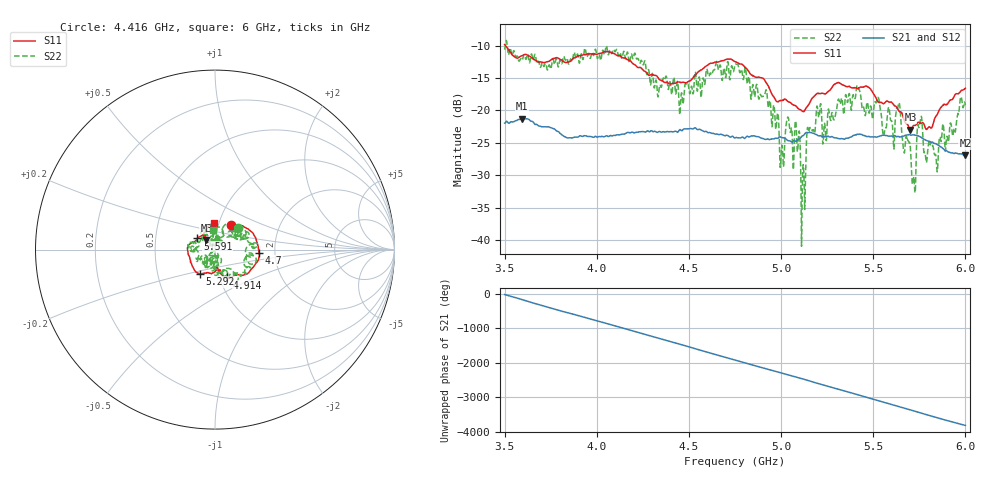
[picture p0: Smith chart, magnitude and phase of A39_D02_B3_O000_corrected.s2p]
! Created with skrf 1.9.0 (http://scikit-rf.org).
# Hz S RI R 50.0
!freq ReS11 ImS11 ReS21 ImS21 ReS12 ImS12 ReS22 ImS22
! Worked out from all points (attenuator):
!   1601 points, 3.5 GHz to 6 GHz, reference 50 ohm
!   highest |S21| = -21.24 dB at 3.594 GHz (marker M1); lowest = -26.9 dB at 6 GHz (marker M2)
!   lowest |S11| = -22.9 dB at 5.702 GHz (marker M3), VSWR 1.15, Z = 45.2 + j4.82 ohm
!   |S11| at or under -10 dB: 3.505 GHz to end of sweep
!   |S22| runs from -40.9 to -9.2 dB; largest |S21 - S12| = 0.00092
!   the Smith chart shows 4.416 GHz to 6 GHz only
!   S11 on the Smith chart (normalised r, x): 4.416 GHz: 1.15, +0.32; 4.7 GHz: 1.65, -0.06; 4.914 GHz: 1.08, -0.35; 5.292 GHz: 0.81, -0.23; 5.591 GHz: 0.82, +0.10; 6 GHz: 0.94, +0.29
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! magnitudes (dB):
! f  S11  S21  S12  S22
! 3.5 GHz  -9.9  -21.9  -21.9  -10.6
! 3.594 GHz  -11.6  -21.2  -21.2  -12.3
! 3.917 GHz  -11.5  -24.0  -24.0  -11.3
! 4.334 GHz  -15.1  -23.3  -23.2  -17.6
! 4.416 GHz  -15.8  -23.3  -23.3  -15.1
! 4.7 GHz  -12.1  -23.9  -23.8  -15.0
! 4.75 GHz  -12.5  -24.2  -24.2  -13.0
! 4.914 GHz  -15.5  -24.5  -24.4  -17.2
! 5.005 GHz  -18.4  -24.2  -24.2  -25.4
! 5.034 GHz  -18.6  -24.6  -24.5  -21.2
! 5.089 GHz  -19.6  -24.6  -24.6  -26.4
! 5.12 GHz  -20.2  -23.9  -23.8  -28.3
! 5.167 GHz  -18.2  -23.5  -23.4  -23.0
! 5.292 GHz  -15.9  -24.2  -24.2  -21.0
! 5.419 GHz  -16.6  -23.7  -23.7  -16.5
! 5.584 GHz  -18.7  -23.9  -23.9  -19.5
! 5.591 GHz  -18.7  -23.9  -23.9  -20.8
! 5.702 GHz  -22.9  -23.8  -23.8  -25.8
! 5.719 GHz  -22.3  -23.8  -23.7  -30.4
! 5.752 GHz  -21.9  -24.0  -24.0  -22.1
! 5.841 GHz  -20.9  -25.2  -25.1  -27.3
! 6 GHz  -16.6  -26.9  -26.8  -19.2
